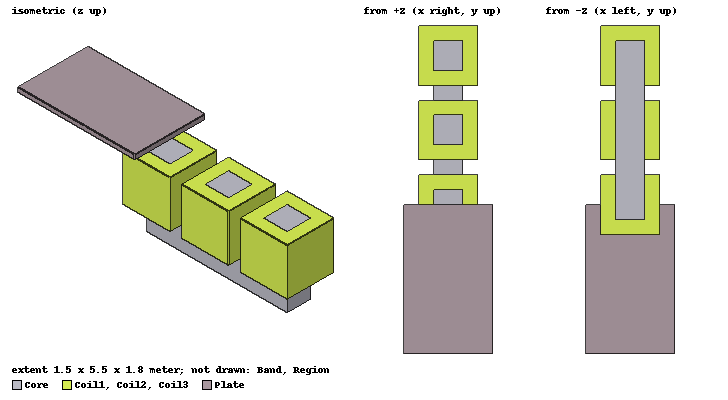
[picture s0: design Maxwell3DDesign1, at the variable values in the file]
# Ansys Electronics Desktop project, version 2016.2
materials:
  vacuum: permittivity=1
  copper: permeability=0.999991 conductivity=58000000
  aluminum: permeability=1.000021 conductivity=38000000

design Maxwell3DDesign1 (Maxwell 3D, Transient, model units meter)
options: Multiplier=1
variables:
  d = 0.25mm
  t = time s
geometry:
  Core [aluminum] = box(corner=(0meter, 0meter, 0meter), size=(0.5meter, 3meter, 0.5meter))
  Tooth1 = box(corner=(0meter, 0meter, 0.5meter), size=(0.5meter, 0.5meter, 1meter))
  Tooth1_1, Tooth1_2 = Tooth1.duplicate_along_line(step=(0meter, 1.25meter, 0meter), total=3)
  Coil1 [copper] = box(corner=(-0.25meter, -0.25meter, 0.5meter), size=(1meter, 1meter, 1meter))
  Coil2, Coil3 [copper] = Coil1.duplicate_along_line(step=(0meter, 1.25meter, 0meter), total=3)
  Core.unite(Tooth1, Tooth1_1, Tooth1_2)
  Core_1 = Core.copy()
  Coil1.subtract(Core_1)
  Core_2 = Core.copy()
  Coil2.subtract(Core_2)
  Core_3 = Core.copy()
  Coil3.subtract(Core_3)
  [Core, Coil1, Coil2, Coil3].move(-0.25meter, -0.25meter, 0meter)
  Coil1_terminal [copper] = Coil1.section(plane=YZ)
  Coil2_terminal, Coil3_terminal [copper] = Coil1_terminal.duplicate_along_line(step=(0meter, 1.25meter, 0meter), total=3)
  Coil1_terminal.separate_bodies()
  Coil2_terminal.separate_bodies()
  Coil3_terminal.separate_bodies()
  Plate [aluminum] = box(corner=(-0.75meter, -2.5meter, 1.7), size=(1.5meter, 2.5meter, 0.1meter))
  Band [vacuum] = box(corner=(-1meter, -5meter, 1.55meter), size=(2meter, 15meter, 1meter))
  Region [vacuum] = region(percentage_offset: +X=100, -X=100, +Y=25, -Y=25, +Z=100, -Z=100)
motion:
  MotionSetup1: Band Move_Type=Translate Coordinate_System=Global PostProcessing_Coordinate_System=Global Axis=Y Is_Positive=true InitPos=0meter NegativePos=0meter PositivePos=5meter Velocity=1m_per_sec Mass=1008.375kg Damping=0 Load_Force=0newton Objects=Band
  Moving1: Moving Objects=Plate
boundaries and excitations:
  Insulating_coil1: Insulating Objects=Coil1
  Insulating_coil2: Insulating Objects=Coil2
  Insulating_coil3: Insulating Objects=Coil3
  CoilTerminal1: Coil Terminal Objects=Coil1_terminal Conductor_number=100 Winding=Winding1 Point_out_of_terminal=true
  CoilTerminal2: Coil Terminal Objects=Coil2_terminal Conductor_number=100 Winding=Winding2 Point_out_of_terminal=true
  CoilTerminal3: Coil Terminal Objects=Coil3_terminal Conductor_number=100 Winding=Winding3 Point_out_of_terminal=true
  Winding1: Winding Group Type=Current IsSolid=false Current=100*sin(2*pi*50*Time) ParallelBranchesNum=1
  Winding2: Winding Group Type=Current IsSolid=false Current=100*sin(2*pi*50*Time+(2*pi)/3) ParallelBranchesNum=1
  Winding3: Winding Group Type=Current IsSolid=false Current=100*sin(2*pi*50*Time+(4*pi)/3) ParallelBranchesNum=1
  eddy effects on: Core, Plate
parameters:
  Thrust: Force Reference_CS=Global Is_Virtual=true Objects=Plate
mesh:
  Length1: LengthBased RefineInside Objects=Region NumMaxElem=10000 MaxLength=1.95meter
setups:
  Setup1: Transient NonlinearSolverResidual=0.005 TimeIntegrationMethod=-1 StopTime=5s TimeStep=100ms NumberOfTimeSubDivisions=1 SweepSetupType=LinearStep StartValue=0ns StopValue=5s StepSize=100ms
